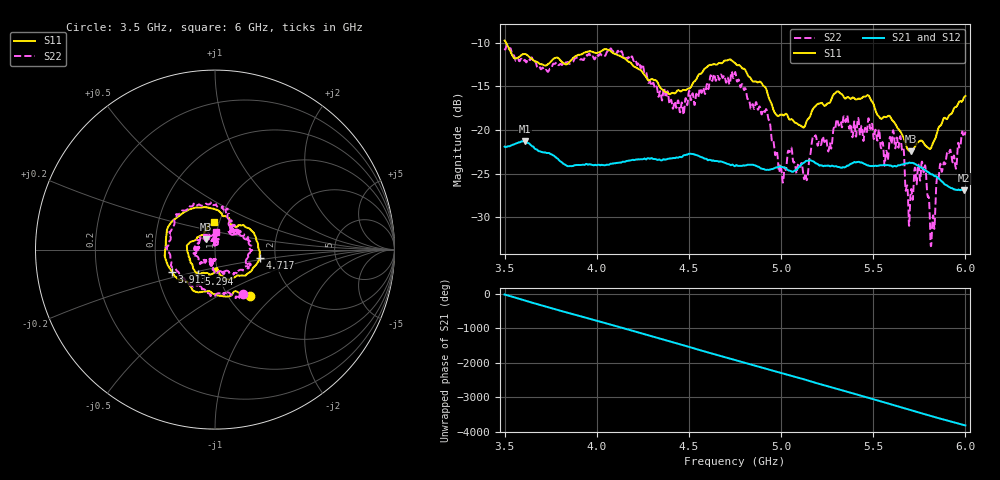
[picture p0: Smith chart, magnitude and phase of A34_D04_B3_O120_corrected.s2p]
! Created with skrf 1.9.0 (http://scikit-rf.org).
# Hz S RI R 50.0
!freq ReS11 ImS11 ReS21 ImS21 ReS12 ImS12 ReS22 ImS22
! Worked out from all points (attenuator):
!   1601 points, 3.5 GHz to 6 GHz, reference 50 ohm
!   highest |S21| = -21.28 dB at 3.609 GHz (marker M1); lowest = -26.9 dB at 5.992 GHz (marker M2)
!   lowest |S11| = -22.4 dB at 5.705 GHz (marker M3), VSWR 1.16, Z = 45 + j5.18 ohm
!   |S11| at or under -10 dB: 3.508 GHz to end of sweep
!   |S22| runs from -33.3 to -10.3 dB; largest |S21 - S12| = 0.001
!   S11 on the Smith chart (normalised r, x): 3.5 GHz: 1.26, -0.73; 3.913 GHz: 0.60, -0.16; 4.717 GHz: 1.65, -0.17; 5.294 GHz: 0.80, -0.22; 6 GHz: 0.94, +0.30
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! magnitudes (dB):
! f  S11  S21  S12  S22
! 3.5 GHz  -9.8  -21.9  -21.9  -10.7
! 3.609 GHz  -11.3  -21.3  -21.3  -12.0
! 3.913 GHz  -11.4  -24.0  -23.9  -11.9
! 3.917 GHz  -11.4  -24.0  -24.0  -11.9
! 4.127 GHz  -11.5  -23.7  -23.7  -11.2
! 4.334 GHz  -14.8  -23.4  -23.3  -16.2
! 4.717 GHz  -11.9  -23.9  -23.9  -14.6
! 4.75 GHz  -12.3  -24.1  -24.0  -13.4
! 4.927 GHz  -15.8  -24.5  -24.5  -18.2
! 5.002 GHz  -18.2  -24.2  -24.2  -24.5
! 5.048 GHz  -18.8  -24.7  -24.6  -22.4
! 5.134 GHz  -19.2  -23.6  -23.5  -25.1
! 5.167 GHz  -17.8  -23.5  -23.5  -21.4
! 5.294 GHz  -15.8  -24.1  -24.1  -19.8
! 5.584 GHz  -18.4  -24.0  -24.0  -22.1
! 5.655 GHz  -20.4  -24.0  -23.9  -22.1
! 5.705 GHz  -22.4  -23.8  -23.7  -26.8
! 5.773 GHz  -21.5  -24.5  -24.4  -24.8
! 5.822 GHz  -21.6  -25.1  -25.0  -30.2
! 5.856 GHz  -19.7  -25.6  -25.5  -25.2
! 5.992 GHz  -16.3  -26.9  -26.8  -20.7
! 6 GHz  -16.1  -26.9  -26.8  -20.2
